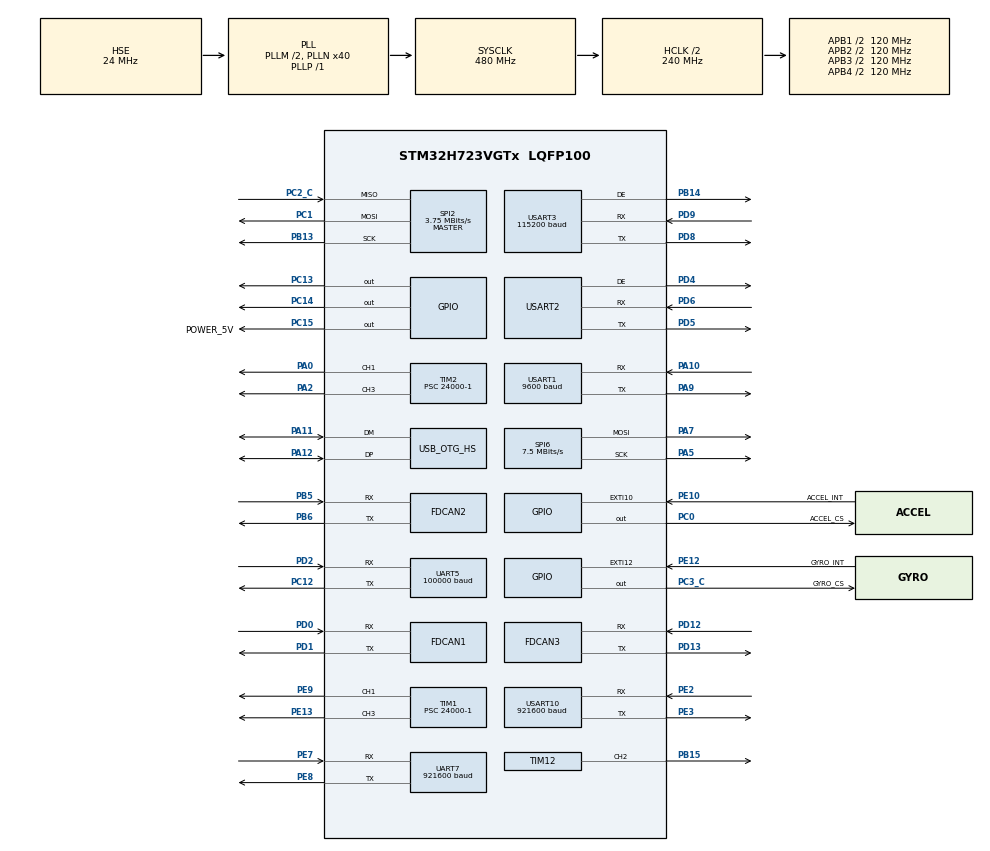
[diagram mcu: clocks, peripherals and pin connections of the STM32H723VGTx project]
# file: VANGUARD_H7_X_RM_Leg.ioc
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CORTEX_M7.CPU_DCache=Disabled
CORTEX_M7.CPU_ICache=Disabled
CORTEX_M7.Enable_Spec=__NULL
CORTEX_M7.MPU_Control=__NULL
CORTEX_M7.default_mode_Activation=0
Dma.Request0=SPI2_RX
Dma.Request1=SPI2_TX
Dma.Request10=USART3_TX
Dma.Request11=USART10_RX
Dma.Request12=USART10_TX
Dma.Request2=UART5_RX
Dma.Request3=UART7_RX
Dma.Request4=UART7_TX
Dma.Request5=USART1_RX
Dma.Request6=USART1_TX
Dma.Request7=USART2_RX
Dma.Request8=USART2_TX
Dma.Request9=USART3_RX
Dma.SPI2_RX.0.Direction=DMA_PERIPH_TO_MEMORY
Dma.SPI2_RX.0.EventEnable=DISABLE
Dma.SPI2_RX.0.FIFOMode=DMA_FIFOMODE_DISABLE
Dma.SPI2_RX.0.Instance=DMA2_Stream6
Dma.SPI2_RX.0.MemDataAlignment=DMA_MDATAALIGN_BYTE
Dma.SPI2_RX.0.MemInc=DMA_MINC_ENABLE
Dma.SPI2_RX.0.Mode=DMA_NORMAL
Dma.SPI2_RX.0.PeriphDataAlignment=DMA_PDATAALIGN_BYTE
Dma.SPI2_RX.0.PeriphInc=DMA_PINC_DISABLE
Dma.SPI2_RX.0.Polarity=HAL_DMAMUX_REQ_GEN_RISING
Dma.SPI2_RX.0.Priority=DMA_PRIORITY_VERY_HIGH
Dma.SPI2_RX.0.RequestNumber=1
Dma.SPI2_RX.0.SignalID=NONE
Dma.SPI2_RX.0.SyncEnable=DISABLE
Dma.SPI2_RX.0.SyncPolarity=HAL_DMAMUX_SYNC_NO_EVENT
Dma.SPI2_RX.0.SyncRequestNumber=1
Dma.SPI2_RX.0.SyncSignalID=NONE
Dma.SPI2_TX.1.Direction=DMA_MEMORY_TO_PERIPH
Dma.SPI2_TX.1.EventEnable=DISABLE
Dma.SPI2_TX.1.FIFOMode=DMA_FIFOMODE_DISABLE
Dma.SPI2_TX.1.Instance=DMA2_Stream7
Dma.SPI2_TX.1.MemDataAlignment=DMA_MDATAALIGN_BYTE
Dma.SPI2_TX.1.MemInc=DMA_MINC_ENABLE
Dma.SPI2_TX.1.Mode=DMA_NORMAL
Dma.SPI2_TX.1.PeriphDataAlignment=DMA_PDATAALIGN_BYTE
Dma.SPI2_TX.1.PeriphInc=DMA_PINC_DISABLE
Dma.SPI2_TX.1.Polarity=HAL_DMAMUX_REQ_GEN_RISING
Dma.SPI2_TX.1.Priority=DMA_PRIORITY_MEDIUM
Dma.SPI2_TX.1.RequestNumber=1
Dma.SPI2_TX.1.SignalID=NONE
Dma.SPI2_TX.1.SyncEnable=DISABLE
Dma.SPI2_TX.1.SyncPolarity=HAL_DMAMUX_SYNC_NO_EVENT
Dma.SPI2_TX.1.SyncRequestNumber=1
Dma.SPI2_TX.1.SyncSignalID=NONE
Dma.UART5_RX.2.Direction=DMA_PERIPH_TO_MEMORY
Dma.UART5_RX.2.EventEnable=DISABLE
Dma.UART5_RX.2.FIFOMode=DMA_FIFOMODE_DISABLE
Dma.UART5_RX.2.Instance=DMA1_Stream0
Dma.UART5_RX.2.MemDataAlignment=DMA_MDATAALIGN_BYTE
Dma.UART5_RX.2.MemInc=DMA_MINC_ENABLE
Dma.UART5_RX.2.Mode=DMA_NORMAL
Dma.UART5_RX.2.PeriphDataAlignment=DMA_PDATAALIGN_BYTE
Dma.UART5_RX.2.PeriphInc=DMA_PINC_DISABLE
Dma.UART5_RX.2.Polarity=HAL_DMAMUX_REQ_GEN_RISING
Dma.UART5_RX.2.Priority=DMA_PRIORITY_VERY_HIGH
Dma.UART5_RX.2.RequestNumber=1
Dma.UART5_RX.2.SignalID=NONE
Dma.UART5_RX.2.SyncEnable=DISABLE
Dma.UART5_RX.2.SyncPolarity=HAL_DMAMUX_SYNC_NO_EVENT
Dma.UART5_RX.2.SyncRequestNumber=1
Dma.UART5_RX.2.SyncSignalID=NONE
Dma.UART7_RX.3.Direction=DMA_PERIPH_TO_MEMORY
Dma.UART7_RX.3.EventEnable=DISABLE
Dma.UART7_RX.3.FIFOMode=DMA_FIFOMODE_DISABLE
Dma.UART7_RX.3.Instance=DMA1_Stream2
Dma.UART7_RX.3.MemDataAlignment=DMA_MDATAALIGN_BYTE
Dma.UART7_RX.3.MemInc=DMA_MINC_ENABLE
Dma.UART7_RX.3.Mode=DMA_NORMAL
Dma.UART7_RX.3.PeriphDataAlignment=DMA_PDATAALIGN_BYTE
Dma.UART7_RX.3.PeriphInc=DMA_PINC_DISABLE
Dma.UART7_RX.3.Polarity=HAL_DMAMUX_REQ_GEN_RISING
Dma.UART7_RX.3.Priority=DMA_PRIORITY_LOW
Dma.UART7_RX.3.RequestNumber=1
Dma.UART7_RX.3.SignalID=NONE
Dma.UART7_RX.3.SyncEnable=DISABLE
Dma.UART7_RX.3.SyncPolarity=HAL_DMAMUX_SYNC_NO_EVENT
Dma.UART7_RX.3.SyncRequestNumber=1
Dma.UART7_RX.3.SyncSignalID=NONE
Dma.UART7_TX.4.Direction=DMA_MEMORY_TO_PERIPH
Dma.UART7_TX.4.EventEnable=DISABLE
Dma.UART7_TX.4.FIFOMode=DMA_FIFOMODE_DISABLE
Dma.UART7_TX.4.Instance=DMA1_Stream3
Dma.UART7_TX.4.MemDataAlignment=DMA_MDATAALIGN_BYTE
Dma.UART7_TX.4.MemInc=DMA_MINC_ENABLE
Dma.UART7_TX.4.Mode=DMA_NORMAL
Dma.UART7_TX.4.PeriphDataAlignment=DMA_PDATAALIGN_BYTE
Dma.UART7_TX.4.PeriphInc=DMA_PINC_DISABLE
Dma.UART7_TX.4.Polarity=HAL_DMAMUX_REQ_GEN_RISING
Dma.UART7_TX.4.Priority=DMA_PRIORITY_LOW
Dma.UART7_TX.4.RequestNumber=1
Dma.UART7_TX.4.SignalID=NONE
Dma.UART7_TX.4.SyncEnable=DISABLE
Dma.UART7_TX.4.SyncPolarity=HAL_DMAMUX_SYNC_NO_EVENT
Dma.UART7_TX.4.SyncRequestNumber=1
Dma.UART7_TX.4.SyncSignalID=NONE
Dma.USART10_RX.11.Direction=DMA_PERIPH_TO_MEMORY
Dma.USART10_RX.11.EventEnable=DISABLE
Dma.USART10_RX.11.FIFOMode=DMA_FIFOMODE_DISABLE
Dma.USART10_RX.11.Instance=DMA2_Stream4
Dma.USART10_RX.11.MemDataAlignment=DMA_MDATAALIGN_BYTE
Dma.USART10_RX.11.MemInc=DMA_MINC_ENABLE
Dma.USART10_RX.11.Mode=DMA_NORMAL
Dma.USART10_RX.11.PeriphDataAlignment=DMA_PDATAALIGN_BYTE
Dma.USART10_RX.11.PeriphInc=DMA_PINC_DISABLE
Dma.USART10_RX.11.Polarity=HAL_DMAMUX_REQ_GEN_RISING
Dma.USART10_RX.11.Priority=DMA_PRIORITY_VERY_HIGH
Dma.USART10_RX.11.RequestNumber=1
Dma.USART10_RX.11.SignalID=NONE
Dma.USART10_RX.11.SyncEnable=DISABLE
Dma.USART10_RX.11.SyncPolarity=HAL_DMAMUX_SYNC_NO_EVENT
Dma.USART10_RX.11.SyncRequestNumber=1
Dma.USART10_RX.11.SyncSignalID=NONE
Dma.USART10_TX.12.Direction=DMA_MEMORY_TO_PERIPH
Dma.USART10_TX.12.EventEnable=DISABLE
Dma.USART10_TX.12.FIFOMode=DMA_FIFOMODE_DISABLE
Dma.USART10_TX.12.Instance=DMA2_Stream5
Dma.USART10_TX.12.MemDataAlignment=DMA_MDATAALIGN_BYTE
Dma.USART10_TX.12.MemInc=DMA_MINC_ENABLE
Dma.USART10_TX.12.Mode=DMA_NORMAL
Dma.USART10_TX.12.PeriphDataAlignment=DMA_PDATAALIGN_BYTE
Dma.USART10_TX.12.PeriphInc=DMA_PINC_DISABLE
Dma.USART10_TX.12.Polarity=HAL_DMAMUX_REQ_GEN_RISING
Dma.USART10_TX.12.Priority=DMA_PRIORITY_VERY_HIGH
Dma.USART10_TX.12.RequestNumber=1
Dma.USART10_TX.12.SignalID=NONE
Dma.USART10_TX.12.SyncEnable=DISABLE
Dma.USART10_TX.12.SyncPolarity=HAL_DMAMUX_SYNC_NO_EVENT
Dma.USART10_TX.12.SyncRequestNumber=1
Dma.USART10_TX.12.SyncSignalID=NONE
Dma.USART1_RX.5.Direction=DMA_PERIPH_TO_MEMORY
Dma.USART1_RX.5.EventEnable=DISABLE
Dma.USART1_RX.5.FIFOMode=DMA_FIFOMODE_DISABLE
Dma.USART1_RX.5.Instance=DMA1_Stream5
Dma.USART1_RX.5.MemDataAlignment=DMA_MDATAALIGN_BYTE
Dma.USART1_RX.5.MemInc=DMA_MINC_ENABLE
Dma.USART1_RX.5.Mode=DMA_NORMAL
Dma.USART1_RX.5.PeriphDataAlignment=DMA_PDATAALIGN_BYTE
Dma.USART1_RX.5.PeriphInc=DMA_PINC_DISABLE
Dma.USART1_RX.5.Polarity=HAL_DMAMUX_REQ_GEN_RISING
Dma.USART1_RX.5.Priority=DMA_PRIORITY_VERY_HIGH
Dma.USART1_RX.5.RequestNumber=1
Dma.USART1_RX.5.SignalID=NONE
Dma.USART1_RX.5.SyncEnable=DISABLE
Dma.USART1_RX.5.SyncPolarity=HAL_DMAMUX_SYNC_NO_EVENT
Dma.USART1_RX.5.SyncRequestNumber=1
Dma.USART1_RX.5.SyncSignalID=NONE
Dma.USART1_TX.6.Direction=DMA_MEMORY_TO_PERIPH
Dma.USART1_TX.6.EventEnable=DISABLE
Dma.USART1_TX.6.FIFOMode=DMA_FIFOMODE_DISABLE
Dma.USART1_TX.6.Instance=DMA1_Stream1
Dma.USART1_TX.6.MemDataAlignment=DMA_MDATAALIGN_BYTE
Dma.USART1_TX.6.MemInc=DMA_MINC_ENABLE
Dma.USART1_TX.6.Mode=DMA_NORMAL
Dma.USART1_TX.6.PeriphDataAlignment=DMA_PDATAALIGN_BYTE
Dma.USART1_TX.6.PeriphInc=DMA_PINC_DISABLE
Dma.USART1_TX.6.Polarity=HAL_DMAMUX_REQ_GEN_RISING
Dma.USART1_TX.6.Priority=DMA_PRIORITY_VERY_HIGH
Dma.USART1_TX.6.RequestNumber=1
Dma.USART1_TX.6.SignalID=NONE
Dma.USART1_TX.6.SyncEnable=DISABLE
Dma.USART1_TX.6.SyncPolarity=HAL_DMAMUX_SYNC_NO_EVENT
Dma.USART1_TX.6.SyncRequestNumber=1
Dma.USART1_TX.6.SyncSignalID=NONE
Dma.USART2_RX.7.Direction=DMA_PERIPH_TO_MEMORY
Dma.USART2_RX.7.EventEnable=DISABLE
Dma.USART2_RX.7.FIFOMode=DMA_FIFOMODE_DISABLE
Dma.USART2_RX.7.Instance=DMA1_Stream7
Dma.USART2_RX.7.MemDataAlignment=DMA_MDATAALIGN_BYTE
Dma.USART2_RX.7.MemInc=DMA_MINC_ENABLE
Dma.USART2_RX.7.Mode=DMA_NORMAL
Dma.USART2_RX.7.PeriphDataAlignment=DMA_PDATAALIGN_BYTE
Dma.USART2_RX.7.PeriphInc=DMA_PINC_DISABLE
Dma.USART2_RX.7.Polarity=HAL_DMAMUX_REQ_GEN_RISING
Dma.USART2_RX.7.Priority=DMA_PRIORITY_MEDIUM
Dma.USART2_RX.7.RequestNumber=1
Dma.USART2_RX.7.SignalID=NONE
Dma.USART2_RX.7.SyncEnable=DISABLE
Dma.USART2_RX.7.SyncPolarity=HAL_DMAMUX_SYNC_NO_EVENT
Dma.USART2_RX.7.SyncRequestNumber=1
Dma.USART2_RX.7.SyncSignalID=NONE
Dma.USART2_TX.8.Direction=DMA_MEMORY_TO_PERIPH
Dma.USART2_TX.8.EventEnable=DISABLE
Dma.USART2_TX.8.FIFOMode=DMA_FIFOMODE_DISABLE
Dma.USART2_TX.8.Instance=DMA2_Stream0
Dma.USART2_TX.8.MemDataAlignment=DMA_MDATAALIGN_BYTE
Dma.USART2_TX.8.MemInc=DMA_MINC_ENABLE
Dma.USART2_TX.8.Mode=DMA_NORMAL
Dma.USART2_TX.8.PeriphDataAlignment=DMA_PDATAALIGN_BYTE
Dma.USART2_TX.8.PeriphInc=DMA_PINC_DISABLE
Dma.USART2_TX.8.Polarity=HAL_DMAMUX_REQ_GEN_RISING
Dma.USART2_TX.8.Priority=DMA_PRIORITY_MEDIUM
Dma.USART2_TX.8.RequestNumber=1
Dma.USART2_TX.8.SignalID=NONE
Dma.USART2_TX.8.SyncEnable=DISABLE
Dma.USART2_TX.8.SyncPolarity=HAL_DMAMUX_SYNC_NO_EVENT
Dma.USART2_TX.8.SyncRequestNumber=1
Dma.USART2_TX.8.SyncSignalID=NONE
Dma.USART3_RX.9.Direction=DMA_PERIPH_TO_MEMORY
Dma.USART3_RX.9.EventEnable=DISABLE
Dma.USART3_RX.9.FIFOMode=DMA_FIFOMODE_DISABLE
Dma.USART3_RX.9.Instance=DMA2_Stream1
Dma.USART3_RX.9.MemDataAlignment=DMA_MDATAALIGN_BYTE
Dma.USART3_RX.9.MemInc=DMA_MINC_ENABLE
Dma.USART3_RX.9.Mode=DMA_NORMAL
Dma.USART3_RX.9.PeriphDataAlignment=DMA_PDATAALIGN_BYTE
Dma.USART3_RX.9.PeriphInc=DMA_PINC_DISABLE
Dma.USART3_RX.9.Polarity=HAL_DMAMUX_REQ_GEN_RISING
Dma.USART3_RX.9.Priority=DMA_PRIORITY_MEDIUM
Dma.USART3_RX.9.RequestNumber=1
Dma.USART3_RX.9.SignalID=NONE
Dma.USART3_RX.9.SyncEnable=DISABLE
Dma.USART3_RX.9.SyncPolarity=HAL_DMAMUX_SYNC_NO_EVENT
Dma.USART3_RX.9.SyncRequestNumber=1
Dma.USART3_RX.9.SyncSignalID=NONE
Dma.USART3_TX.10.Direction=DMA_MEMORY_TO_PERIPH
Dma.USART3_TX.10.EventEnable=DISABLE
Dma.USART3_TX.10.FIFOMode=DMA_FIFOMODE_DISABLE
Dma.USART3_TX.10.Instance=DMA2_Stream2
Dma.USART3_TX.10.MemDataAlignment=DMA_MDATAALIGN_BYTE
Dma.USART3_TX.10.MemInc=DMA_MINC_ENABLE
Dma.USART3_TX.10.Mode=DMA_NORMAL
Dma.USART3_TX.10.PeriphDataAlignment=DMA_PDATAALIGN_BYTE
Dma.USART3_TX.10.PeriphInc=DMA_PINC_DISABLE
Dma.USART3_TX.10.Polarity=HAL_DMAMUX_REQ_GEN_RISING
Dma.USART3_TX.10.Priority=DMA_PRIORITY_MEDIUM
Dma.USART3_TX.10.RequestNumber=1
Dma.USART3_TX.10.SignalID=NONE
Dma.USART3_TX.10.SyncEnable=DISABLE
Dma.USART3_TX.10.SyncPolarity=HAL_DMAMUX_SYNC_NO_EVENT
Dma.USART3_TX.10.SyncRequestNumber=1
Dma.USART3_TX.10.SyncSignalID=NONE
FDCAN1.AutoRetransmission=ENABLE
FDCAN1.CalculateBaudRateNominal=1000000
FDCAN1.CalculateTimeBitNominal=1000
FDCAN1.CalculateTimeQuantumNominal=200.0
FDCAN1.DataPrescaler=1
FDCAN1.DataSyncJumpWidth=5
FDCAN1.DataTimeSeg1=14
FDCAN1.DataTimeSeg2=5
FDCAN1.ExtFiltersNbr=0
FDCAN1.FrameFormat=FDCAN_FRAME_FD_NO_BRS
FDCAN1.MessageRAMOffset=0
FDCAN1.NominalPrescaler=24
FDCAN1.NominalSyncJumpWidth=5
FDCAN1.NominalTimeSeg1=2
FDCAN1.NominalTimeSeg2=2
FDCAN1.ProtocolException=ENABLE
FDCAN1.RxFifo0ElmtsNbr=6
FDCAN1.RxFifo1ElmtsNbr=6
FDCAN1.StdFiltersNbr=128
FDCAN1.TxFifoQueueElmtsNbr=32
FDCAN2.AutoRetransmission=ENABLE
FDCAN2.CalculateBaudRateNominal=1000000
FDCAN2.CalculateTimeBitNominal=1000
FDCAN2.CalculateTimeQuantumNominal=200.0
FDCAN2.DataPrescaler=1
FDCAN2.DataSyncJumpWidth=5
FDCAN2.DataTimeSeg1=14
FDCAN2.DataTimeSeg2=5
FDCAN2.FrameFormat=FDCAN_FRAME_FD_BRS
FDCAN2.MessageRAMOffset=854
FDCAN2.NominalPrescaler=24
FDCAN2.NominalSyncJumpWidth=5
FDCAN2.NominalTimeSeg1=2
FDCAN2.NominalTimeSeg2=2
FDCAN2.ProtocolException=ENABLE
FDCAN2.RxFifo1ElmtsNbr=8
FDCAN2.StdFiltersNbr=1
FDCAN3.AutoRetransmission=ENABLE
FDCAN3.CalculateBaudRateNominal=1000000
FDCAN3.CalculateTimeBitNominal=1000
FDCAN3.CalculateTimeQuantumNominal=25.0
FDCAN3.DataPrescaler=3
FDCAN3.DataSyncJumpWidth=10
FDCAN3.DataTimeSeg1=29
FDCAN3.DataTimeSeg2=10
FDCAN3.ExtFiltersNbr=0
FDCAN3.MessageRAMOffset=1708
FDCAN3.NominalPrescaler=3
FDCAN3.NominalSyncJumpWidth=10
FDCAN3.NominalTimeSeg1=29
FDCAN3.NominalTimeSeg2=10
FDCAN3.ProtocolException=ENABLE
FDCAN3.RxFifo0ElmtsNbr=4
FDCAN3.RxFifo1ElmtsNbr=4
FDCAN3.StdFiltersNbr=7
FDCAN3.TxFifoQueueElmtsNbr=32
FREERTOS.Tasks01=defaultTask,24,128,StartDefaultTask,Default,NULL,Dynamic,NULL,NULL
FREERTOS.configENABLE_FPU=1
FREERTOS.configMAX_TASK_NAME_LEN=32
Mcu.Family=STM32H7
Mcu.Name=STM32H723VGTx
Mcu.Package=LQFP100
NVIC.DMA1_Stream0_IRQn=true\:5\:0\:false\:false\:true\:true\:false\:true\:true
NVIC.DMA1_Stream1_IRQn=true\:5\:0\:false\:false\:true\:true\:false\:true\:true
NVIC.DMA1_Stream2_IRQn=true\:5\:0\:false\:false\:true\:false\:false\:true\:true
NVIC.DMA1_Stream3_IRQn=true\:5\:0\:false\:false\:true\:false\:false\:true\:true
NVIC.DMA1_Stream5_IRQn=true\:5\:0\:false\:false\:true\:false\:false\:true\:true
NVIC.DMA1_Stream7_IRQn=true\:5\:0\:false\:false\:true\:false\:false\:true\:true
NVIC.DMA2_Stream0_IRQn=true\:5\:0\:false\:false\:true\:false\:false\:true\:true
NVIC.DMA2_Stream1_IRQn=true\:5\:0\:false\:false\:true\:false\:false\:true\:true
NVIC.DMA2_Stream2_IRQn=true\:5\:0\:false\:false\:true\:false\:false\:true\:true
NVIC.DMA2_Stream4_IRQn=true\:5\:0\:false\:false\:true\:false\:false\:true\:true
NVIC.DMA2_Stream5_IRQn=true\:5\:0\:false\:false\:true\:false\:false\:true\:true
NVIC.DMA2_Stream6_IRQn=true\:5\:0\:false\:false\:true\:false\:false\:true\:true
NVIC.DMA2_Stream7_IRQn=true\:5\:0\:false\:false\:true\:false\:false\:true\:true
NVIC.FDCAN1_IT0_IRQn=true\:5\:0\:false\:false\:true\:true\:true\:true\:true
NVIC.FDCAN1_IT1_IRQn=true\:5\:0\:false\:false\:true\:true\:true\:true\:true
NVIC.FDCAN2_IT0_IRQn=true\:5\:0\:false\:false\:true\:true\:true\:true\:true
NVIC.FDCAN2_IT1_IRQn=true\:5\:0\:false\:false\:true\:true\:true\:true\:true
NVIC.FDCAN3_IT0_IRQn=true\:5\:0\:false\:false\:true\:true\:true\:true\:true
NVIC.FDCAN3_IT1_IRQn=true\:5\:0\:false\:false\:true\:true\:true\:true\:true
NVIC.OTG_HS_IRQn=true\:5\:0\:false\:false\:true\:true\:false\:true\:true
NVIC.PriorityGroup=NVIC_PRIORITYGROUP_4
NVIC.SPI2_IRQn=true\:7\:0\:true\:false\:true\:true\:true\:true\:true
NVIC.SPI6_IRQn=true\:5\:0\:false\:false\:true\:true\:true\:true\:true
NVIC.TIM1_BRK_IRQn=true\:5\:0\:false\:false\:true\:true\:true\:true\:true
NVIC.TIM1_CC_IRQn=true\:5\:0\:false\:false\:true\:true\:true\:true\:true
NVIC.TIM1_TRG_COM_IRQn=true\:5\:0\:false\:false\:true\:true\:true\:true\:true
NVIC.TIM1_UP_IRQn=true\:5\:0\:false\:false\:true\:true\:true\:true\:true
NVIC.TIM2_IRQn=true\:5\:0\:false\:false\:true\:true\:true\:true\:true
NVIC.TIM3_IRQn=true\:15\:0\:false\:false\:true\:false\:true\:true\:true
NVIC.TimeBase=TIM3_IRQn
NVIC.TimeBaseIP=TIM3
NVIC.UART5_IRQn=true\:5\:0\:true\:false\:true\:true\:true\:true\:true
NVIC.UART7_IRQn=true\:6\:0\:true\:false\:true\:true\:true\:true\:true
NVIC.USART10_IRQn=true\:6\:0\:true\:false\:true\:true\:false\:true\:true
NVIC.USART1_IRQn=true\:6\:0\:true\:false\:true\:true\:false\:true\:true
NVIC.USART2_IRQn=true\:6\:0\:true\:false\:true\:true\:false\:true\:true
NVIC.USART3_IRQn=true\:6\:0\:true\:false\:true\:true\:true\:true\:true
PA0.Signal=S_TIM2_CH1_ETR
PA10.Mode=Asynchronous
PA10.Signal=USART1_RX
PA11.Mode=Device_Only_FS
PA11.Signal=USB_OTG_HS_DM
PA12.Mode=Device_Only_FS
PA12.Signal=USB_OTG_HS_DP
PA13(JTMS/SWDIO).Mode=Serial_Wire
PA13(JTMS/SWDIO).Signal=DEBUG_JTMS-SWDIO
PA14(JTCK/SWCLK).Mode=Serial_Wire
PA14(JTCK/SWCLK).Signal=DEBUG_JTCK-SWCLK
PA2.Signal=S_TIM2_CH3
PA5.Mode=TX_Only_Simplex_Unidirect_Master
PA5.Signal=SPI6_SCK
PA7.Mode=TX_Only_Simplex_Unidirect_Master
PA7.Signal=SPI6_MOSI
PA9.Mode=Asynchronous
PA9.Signal=USART1_TX
PB13.Mode=Full_Duplex_Master
PB13.Signal=SPI2_SCK
PB14.Mode=Hardware Flow Control (RS485)
PB14.Signal=USART3_DE
PB15.Signal=S_TIM12_CH2
PB5.Mode=FDCAN_Activate
PB5.Signal=FDCAN2_RX
PB6.Mode=FDCAN_Activate
PB6.Signal=FDCAN2_TX
PC0.GPIO_Label=ACCEL_CS
PC0.GPIO_Speed=GPIO_SPEED_FREQ_MEDIUM
PC0.PinState=GPIO_PIN_SET
PC0.Signal=GPIO_Output
PC1.Mode=Full_Duplex_Master
PC1.Signal=SPI2_MOSI
PC12.Mode=Asynchronous
PC12.Signal=UART5_TX
PC13.Signal=GPIO_Output
PC14-OSC32_IN.Signal=GPIO_Output
PC15-OSC32_OUT.GPIO_Label=POWER_5V
PC15-OSC32_OUT.PinState=GPIO_PIN_SET
PC15-OSC32_OUT.Signal=GPIO_Output
PC2_C.Mode=Full_Duplex_Master
PC2_C.Signal=SPI2_MISO
PC3_C.GPIO_Label=GYRO_CS
PC3_C.GPIO_Speed=GPIO_SPEED_FREQ_MEDIUM
PC3_C.PinState=GPIO_PIN_SET
PC3_C.Signal=GPIO_Output
PD0.Mode=FDCAN_Activate
PD0.Signal=FDCAN1_RX
PD1.Mode=FDCAN_Activate
PD1.Signal=FDCAN1_TX
PD12.Mode=FDCAN_Activate
PD12.Signal=FDCAN3_RX
PD13.Mode=FDCAN_Activate
PD13.Signal=FDCAN3_TX
PD2.Mode=Asynchronous
PD2.Signal=UART5_RX
PD4.Mode=Hardware Flow Control (RS485)
PD4.Signal=USART2_DE
PD5.Mode=Asynchronous
PD5.Signal=USART2_TX
PD6.Mode=Asynchronous
PD6.Signal=USART2_RX
PD8.Mode=Asynchronous
PD8.Signal=USART3_TX
PD9.Mode=Asynchronous
PD9.Signal=USART3_RX
PE10.GPIO_Label=ACCEL_INT
PE10.Signal=GPXTI10
PE12.GPIO_Label=GYRO_INT
PE12.Signal=GPXTI12
PE13.Signal=S_TIM1_CH3
PE2.Mode=Asynchronous
PE2.Signal=USART10_RX
PE3.Mode=Asynchronous
PE3.Signal=USART10_TX
PE7.Mode=Asynchronous
PE7.Signal=UART7_RX
PE8.Mode=Asynchronous
PE8.Signal=UART7_TX
PE9.Signal=S_TIM1_CH1
PH0-OSC_IN.Mode=HSE-External-Oscillator
PH0-OSC_IN.Signal=RCC_OSC_IN
PH1-OSC_OUT.Mode=HSE-External-Oscillator
PH1-OSC_OUT.Signal=RCC_OSC_OUT
ProjectManager.HeapSize=0x200
ProjectManager.StackSize=0x800
ProjectManager.TargetToolchain=MDK-ARM V5.32
RCC.ADCFreq_Value=96000000
RCC.APB1Freq_Value=120000000
RCC.APB2Freq_Value=120000000
RCC.APB3Freq_Value=120000000
RCC.APB4Freq_Value=120000000
RCC.CortexFreq_Value=480000000
RCC.D1PPRE=RCC_APB3_DIV2
RCC.D2PPRE1=RCC_APB1_DIV2
RCC.D2PPRE2=RCC_APB2_DIV2
RCC.D3PPRE=RCC_APB4_DIV2
RCC.DIVM1=2
RCC.DIVM2=2
RCC.DIVN1=40
RCC.DIVN2=16
RCC.DIVP1=1
RCC.DIVQ1=4
RCC.HCLKFreq_Value=240000000
RCC.HPRE=RCC_HCLK_DIV2
RCC.HSE_VALUE=24000000
RCC.PLLSourceVirtual=RCC_PLLSOURCE_HSE
RCC.SYSCLKFreq_VALUE=480000000
RCC.SYSCLKSource=RCC_SYSCLKSOURCE_PLLCLK
RCC.USBCLockSelection=RCC_USBCLKSOURCE_HSI48
RCC.USBFreq_Value=48000000
SH.S_TIM12_CH2.0=TIM12_CH2,PWM Generation2 CH2
SH.S_TIM1_CH1.0=TIM1_CH1,PWM Generation1 CH1
SH.S_TIM1_CH3.0=TIM1_CH3,PWM Generation3 CH3
SH.S_TIM2_CH1_ETR.0=TIM2_CH1,PWM Generation1 CH1
SH.S_TIM2_CH3.0=TIM2_CH3,PWM Generation3 CH3
SPI2.BaudRatePrescaler=SPI_BAUDRATEPRESCALER_32
SPI2.CLKPhase=SPI_PHASE_2EDGE
SPI2.CLKPolarity=SPI_POLARITY_HIGH
SPI2.CalculateBaudRate=3.75 MBits/s
SPI2.DataSize=SPI_DATASIZE_8BIT
SPI2.Direction=SPI_DIRECTION_2LINES
SPI2.Mode=SPI_MODE_MASTER
SPI2.VirtualType=VM_MASTER
SPI6.BaudRatePrescaler=SPI_BAUDRATEPRESCALER_16
SPI6.CLKPhase=SPI_PHASE_2EDGE
SPI6.CalculateBaudRate=7.5 MBits/s
SPI6.DataSize=SPI_DATASIZE_8BIT
SPI6.Direction=SPI_DIRECTION_2LINES_TXONLY
SPI6.Mode=SPI_MODE_MASTER
SPI6.VirtualType=VM_MASTER
STMicroelectronics.X-CUBE-ALGOBUILD.1.4.0.LibraryCcDSPOoLibraryJjDSPOoLibrary=true
TIM1.Channel-PWM\ Generation1\ CH1=TIM_CHANNEL_1
TIM1.Channel-PWM\ Generation3\ CH3=TIM_CHANNEL_3
TIM1.Period=10000-1
TIM1.Prescaler=24000-1
TIM1.Pulse-PWM\ Generation1\ CH1=1000
TIM1.Pulse-PWM\ Generation3\ CH3=1000-1
TIM12.Channel-PWM\ Generation2\ CH2=TIM_CHANNEL_2
TIM12.Period=1000-1
TIM12.Prescaler=24-1
TIM12.Pulse-PWM\ Generation2\ CH2=500
TIM2.Channel-PWM\ Generation1\ CH1=TIM_CHANNEL_1
TIM2.Channel-PWM\ Generation3\ CH3=TIM_CHANNEL_3
TIM2.Period=1000-1
TIM2.Prescaler=24000-1
TIM2.Pulse-PWM\ Generation1\ CH1=500-1
TIM2.Pulse-PWM\ Generation3\ CH3=500
UART5.BaudRate=100000
UART5.Mode=MODE_RX
UART5.OverrunDisableParam=UART_ADVFEATURE_OVERRUN_DISABLE
UART5.Parity=PARITY_EVEN
UART5.StopBits=UART_STOPBITS_2
UART5.WordLength=WORDLENGTH_9B
UART7.BaudRate=921600
USART1.BaudRate=9600
USART1.VirtualMode-Asynchronous=VM_ASYNC
USART10.BaudRate=921600
USART10.VirtualMode=VM_ASYNC
USART2.OverSampling=UART_OVERSAMPLING_16
USART2.VirtualMode-Asynchronous=VM_ASYNC
USART2.VirtualMode-Hardware\ Flow\ Control\ (RS485)=VM_ASYNC
USART3.BaudRate=115200
USART3.OverSampling=UART_OVERSAMPLING_16
USART3.StopBits=STOPBITS_1
USART3.VirtualMode-Asynchronous=VM_ASYNC
USART3.VirtualMode-Hardware\ Flow\ Control\ (RS485)=VM_ASYNC
USB_DEVICE.CLASS_NAME_HS=CDC
USB_DEVICE.VirtualMode=Cdc
USB_DEVICE.VirtualModeHS=Cdc_HS
USB_OTG_HS.VirtualMode-Device_Only_FS=Device_Only_FS
VP_FREERTOS_VS_CMSIS_V2.Mode=CMSIS_V2
VP_MEMORYMAP_VS_MEMORYMAP.Mode=CurAppReg
VP_STMicroelectronics.X-CUBE-ALGOBUILD_VS_DSPOoLibraryJjLibrary_1.4.0_1.4.0.Mode=DSPOoLibraryJjLibrary
VP_SYS_VS_tim3.Mode=TIM3
VP_USB_DEVICE_VS_USB_DEVICE_CDC_HS.Mode=CDC_HS
board=custom

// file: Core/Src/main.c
/* USER CODE BEGIN Header */
/**
  ******************************************************************************
  * @file           : main.c
  * @brief          : Main program body
  ******************************************************************************
  * @attention
  *
  * Copyright (c) 2025 STMicroelectronics.
  * All rights reserved.
  *
  * This software is licensed under terms that can be found in the LICENSE file
  * in the root directory of this software component.
  * If no LICENSE file comes with this software, it is provided AS-IS.
  *
  ******************************************************************************
  */
/* USER CODE END Header */
#include "main.h"
#include "cmsis_os.h"
#include "dma.h"
#include "fdcan.h"
#include "memorymap.h"
#include "spi.h"
#include "tim.h"
#include "usart.h"
#include "usb_device.h"
#include "gpio.h"

/* USER CODE BEGIN Includes */
#include "Robot_Init_Config.h"
/* USER CODE END Includes */

void SystemClock_Config(void);
void MX_FREERTOS_Init(void);

int main(void)
{

  /* MCU Configuration--------------------------------------------------------*/

  /* Reset of all peripherals, Initializes the Flash interface and the Systick. */
  HAL_Init();

  /* Configure the system clock */
  SystemClock_Config();

  /* Initialize all configured peripherals */
  MX_GPIO_Init();
  MX_DMA_Init();
  MX_FDCAN1_Init();
  MX_FDCAN2_Init();
  MX_FDCAN3_Init();
  MX_SPI2_Init();
  MX_UART5_Init();
  MX_UART7_Init();
  MX_USART1_UART_Init();
  MX_USART2_UART_Init();
  MX_USART3_UART_Init();
  MX_USART10_UART_Init();
  MX_SPI6_Init();
  MX_TIM1_Init();
  MX_TIM2_Init();
  MX_TIM12_Init();
  /* USER CODE BEGIN 2 */
  V_MCU_Init();

  V_Device_Init();

  V_OS_Task_Init();
  /* USER CODE END 2 */

  /* Init scheduler */
  osKernelInitialize();

  /* Call init function for freertos objects (in cmsis_os2.c) */
  MX_FREERTOS_Init();

  /* Start scheduler */
  osKernelStart();

  /* We should never get here as control is now taken by the scheduler */

  /* Infinite loop */
  while (1)
  {

  }
}

void SystemClock_Config(void)
{
  RCC_OscInitTypeDef RCC_OscInitStruct = {0};
  RCC_ClkInitTypeDef RCC_ClkInitStruct = {0};

  /** Supply configuration update enable
  */
  HAL_PWREx_ConfigSupply(PWR_LDO_SUPPLY);

  /** Configure the main internal regulator output voltage
  */
  __HAL_PWR_VOLTAGESCALING_CONFIG(PWR_REGULATOR_VOLTAGE_SCALE0);

  while(!__HAL_PWR_GET_FLAG(PWR_FLAG_VOSRDY)) {}

  /** Initializes the RCC Oscillators according to the specified parameters
  * in the RCC_OscInitTypeDef structure.
  */
  RCC_OscInitStruct.OscillatorType = RCC_OSCILLATORTYPE_HSI48|RCC_OSCILLATORTYPE_HSE;
  RCC_OscInitStruct.HSEState = RCC_HSE_ON;
  RCC_OscInitStruct.HSI48State = RCC_HSI48_ON;
  RCC_OscInitStruct.PLL.PLLState = RCC_PLL_ON;
  RCC_OscInitStruct.PLL.PLLSource = RCC_PLLSOURCE_HSE;
  RCC_OscInitStruct.PLL.PLLM = 2;
  RCC_OscInitStruct.PLL.PLLN = 40;
  RCC_OscInitStruct.PLL.PLLP = 1;
  RCC_OscInitStruct.PLL.PLLQ = 4;
  RCC_OscInitStruct.PLL.PLLR = 2;
  RCC_OscInitStruct.PLL.PLLRGE = RCC_PLL1VCIRANGE_3;
  RCC_OscInitStruct.PLL.PLLVCOSEL = RCC_PLL1VCOWIDE;
  RCC_OscInitStruct.PLL.PLLFRACN = 0;
  if (HAL_RCC_OscConfig(&RCC_OscInitStruct) != HAL_OK)
  {
    Error_Handler();
  }

  /** Initializes the CPU, AHB and APB buses clocks
  */
  RCC_ClkInitStruct.ClockType = RCC_CLOCKTYPE_HCLK|RCC_CLOCKTYPE_SYSCLK
                              |RCC_CLOCKTYPE_PCLK1|RCC_CLOCKTYPE_PCLK2
                              |RCC_CLOCKTYPE_D3PCLK1|RCC_CLOCKTYPE_D1PCLK1;
  RCC_ClkInitStruct.SYSCLKSource = RCC_SYSCLKSOURCE_PLLCLK;
  RCC_ClkInitStruct.SYSCLKDivider = RCC_SYSCLK_DIV1;
  RCC_ClkInitStruct.AHBCLKDivider = RCC_HCLK_DIV2;
  RCC_ClkInitStruct.APB3CLKDivider = RCC_APB3_DIV2;
  RCC_ClkInitStruct.APB1CLKDivider = RCC_APB1_DIV2;
  RCC_ClkInitStruct.APB2CLKDivider = RCC_APB2_DIV2;
  RCC_ClkInitStruct.APB4CLKDivider = RCC_APB4_DIV2;

  if (HAL_RCC_ClockConfig(&RCC_ClkInitStruct, FLASH_LATENCY_3) != HAL_OK)
  {
    Error_Handler();
  }
}

void HAL_TIM_PeriodElapsedCallback(TIM_HandleTypeDef *htim)
{
  if (htim->Instance == TIM3) {
    HAL_IncTick();
  }
}

void Error_Handler(void)
{
  __disable_irq();
  while (1)
  {
  }
}

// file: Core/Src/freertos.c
/* USER CODE BEGIN Header */
/**
  ******************************************************************************
  * File Name          : freertos.c
  * Description        : Code for freertos applications
  ******************************************************************************
  * @attention
  *
  * Copyright (c) 2025 STMicroelectronics.
  * All rights reserved.
  *
  * This software is licensed under terms that can be found in the LICENSE file
  * in the root directory of this software component.
  * If no LICENSE file comes with this software, it is provided AS-IS.
  *
  ******************************************************************************
  */
/* USER CODE END Header */

#include "FreeRTOS.h"
#include "task.h"
#include "main.h"
#include "cmsis_os.h"

/* USER CODE BEGIN Includes */
#include "BMI088driver.h"
#include "ws2812.h"
/* USER CODE END Includes */

/* Definitions for defaultTask */
osThreadId_t defaultTaskHandle;
const osThreadAttr_t defaultTask_attributes = {
  .name = "defaultTask",
  .stack_size = 128 * 4,
  .priority = (osPriority_t) osPriorityNormal,
};

void StartDefaultTask(void *argument);

extern void MX_USB_DEVICE_Init(void);
void MX_FREERTOS_Init(void); /* (MISRA C 2004 rule 8.1) */

void MX_FREERTOS_Init(void) {

  /* Create the thread(s) */
  /* creation of defaultTask */
  defaultTaskHandle = osThreadNew(StartDefaultTask, NULL, &defaultTask_attributes);

}

/* USER CODE BEGIN Header_StartDefaultTask */

void V_LED_Control( void );

static uint32_t *dwt_default = 0;
float dt = 0;
/**
  * @brief  Function implementing the defaultTask thread.
  * @param  argument: Not used
  * @retval None
  */
/* USER CODE END Header_StartDefaultTask */
void StartDefaultTask(void *argument)
{
  /* init code for USB_DEVICE */
  MX_USB_DEVICE_Init();
  /* USER CODE BEGIN StartDefaultTask */
	/* Infinite loop */
	for( ;; )
	{
		dt = DWT_GetDeltaT( dwt_default );
		V_LED_Control( );
//  HAL_GPIO_WritePin(GPIOC,POWER_5V_Pin,GPIO_PIN_RESET);
//	HAL_GPIO_WritePin(GPIOC,POWER_5V_Pin,GPIO_PIN_SET);
	}
  /* USER CODE END StartDefaultTask */
}

/* USER CODE BEGIN Application */
void V_LED_Control( void )
{
	static uint8_t r, g, b;
//	for( i = 0; i < 255; ++i )
//	{
		WS2812_Control( ws2812_instance, r, g, b );
		r++;
		g += 5;
		b += 10;
		osDelay( 1 );
		r++;
		g++;
		b++;
		osDelay(100);
//		for( j = 0; j < 255; ++j )
//		{
//			WS2812_Control( ws2812_instance, i, j, z );
//			osDelay( 1 );
//			for( z = 0; z < 255; ++z )
//			{
//				WS2812_Control( ws2812_instance, i, j, z );
//				osDelay( 1 );
//			}
//		}
//	}
}
/* USER CODE END Application */
